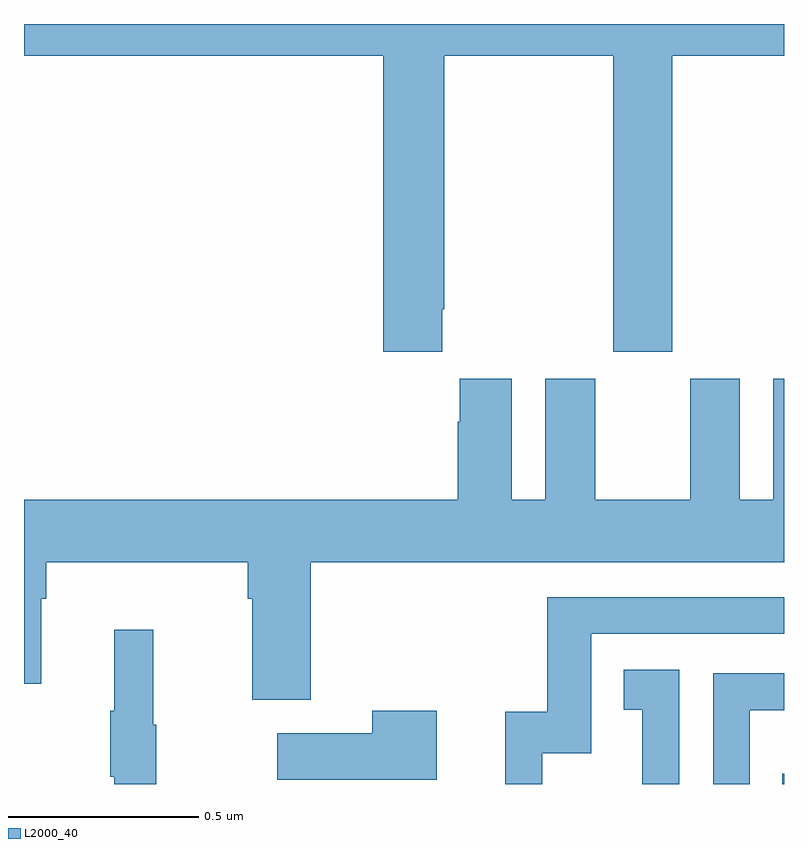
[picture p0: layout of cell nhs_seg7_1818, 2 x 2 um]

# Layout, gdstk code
import gdstk
lib = gdstk.Library(unit=1e-6, precision=1e-09)
def R(c, l, rs):  # rectangles x0, y0, x1, y1
    for r in rs: c.add(gdstk.rectangle(r[:2], r[2:], *l))
def P(c, l, *ps):  # polygons
    for p in ps: c.add(gdstk.Polygon(p, *l))
L2000_40 = (2000, 40)

nhs_seg7_1818 = lib.new_cell('nhs_seg7_1818')
R(nhs_seg7_1818, L2000_40, [(137.995,1032,138,1032.027)])
P(nhs_seg7_1818, L2000_40, [(137.101,1033.249),(137.106,1033.249),(137.106,1033.916),(137.551,1033.916),(137.551,1033.137),(137.706,1033.137),(137.706,1033.916),(138,1033.916),(138,1034),(136,1034),(136,1033.916),(136.946,1033.916),(136.946,1033.137),(137.101,1033.137)],
  [(136.754,1032.584),(138,1032.584),(138,1033.066),(137.972,1033.066),(137.972,1032.748),(137.884,1032.748),(137.884,1033.066),(137.753,1033.066),(137.753,1032.748),(137.503,1032.748),(137.503,1033.066),(137.372,1033.066),(137.372,1032.748),(137.284,1032.748),(137.284,1033.066),(137.147,1033.066),(137.147,1032.953),(137.141,1032.953),(137.141,1032.748),(136,1032.748),(136,1032.264),(136.045,1032.264),(136.045,1032.488),(136.058,1032.488),(136.058,1032.584),(136.589,1032.584),(136.589,1032.488),(136.601,1032.488),(136.601,1032.222),(136.754,1032.222)],
  [(137.364,1032.081),(137.493,1032.081),(137.493,1032.396),(138,1032.396),(138,1032.492),(137.377,1032.492),(137.377,1032.19),(137.267,1032.19),(137.267,1032),(137.364,1032)],
  [(136.348,1032.156),(136.34,1032.156),(136.34,1032.406),(136.238,1032.406),(136.238,1032.193),(136.227,1032.193),(136.227,1032.019),(136.238,1032.019),(136.238,1032),(136.348,1032)],
  [(137.724,1032.301),(137.578,1032.301),(137.578,1032.195),(137.627,1032.195),(137.627,1032),(137.724,1032)],
  [(137.91,1032.194),(138,1032.194),(138,1032.291),(137.814,1032.291),(137.814,1032),(137.91,1032)],
  [(137.086,1032.193),(136.916,1032.193),(136.916,1032.133),(136.667,1032.133),(136.667,1032.011),(137.086,1032.011)])

lib.write_gds('nhs_seg7_1818.gds')
